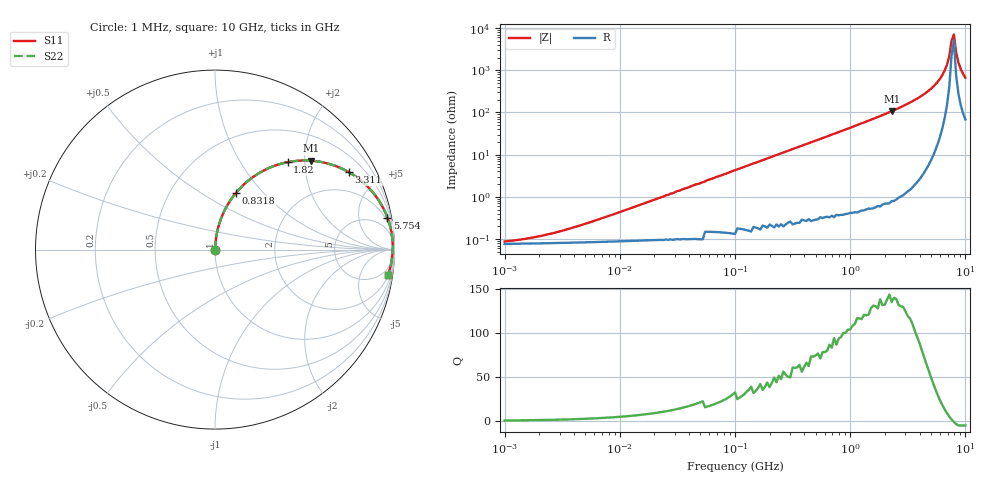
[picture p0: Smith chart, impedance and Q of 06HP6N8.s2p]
# MHz S MA R 50
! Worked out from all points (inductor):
!   201 points, 1 MHz to 10 GHz, reference 50 ohm
!   read as one part in series: L = 6.8 nH near 6.026 MHz
!   highest Q = 139 at 2.291 GHz (marker M1), where L = 7.44 nH
!   self-resonance near 7.586 GHz
!   S11 on the Smith chart (normalised r, x): 1 MHz: 1.00, +0.00; 831.8 MHz: 1.01, +0.72; 1.82 GHz: 1.01, +1.64; 3.311 GHz: 1.03, +3.45; 5.754 GHz: 1, +11; 10 GHz: 2, -13
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1  0.0006827 38.7  0.999 -0.0  0.999 -0.0  0.0006827 38.7
1.995  0.00103 55.7  0.999 -0.0  0.999 -0.0  0.00103 55.7
4.786  0.00215 71.8  0.999 -0.1  0.999 -0.1  0.00215 71.8
21.878  0.009386 83.7  0.999 -0.5  0.999 -0.5  0.009386 83.7
104.713  0.045 85.4  0.997 -2.6  0.997 -2.6  0.045 85.4
478.63  0.201 77.6  0.977 -11.6  0.977 -11.6  0.201 77.6
831.764  0.337 69.7  0.938 -19.7  0.938 -19.7  0.337 69.7
1819.701  0.633 50.3  0.77 -39.2  0.77 -39.2  0.633 50.3
2187.762  0.71 44.4  0.7 -45.2  0.7 -45.2  0.71 44.4
2290.868  0.728 42.8  0.68 -46.7  0.68 -46.7  0.728 42.8
3311.311  0.862 30.0  0.5 -59.5  0.5 -59.5  0.862 30.0
4570.882  0.943 18.5  0.318 -70.6  0.318 -70.6  0.943 18.5
5754.399  0.977 10.5  0.182 -77.6  0.182 -77.6  0.977 10.5
6309.573  0.985 7.3  0.127 -79.5  0.127 -79.5  0.985 7.3
6918.31  0.989 4.2  0.073 -79.5  0.073 -79.5  0.989 4.2
7244.36  0.99 2.6  0.046 -76.6  0.046 -76.6  0.99 2.6
7585.776  0.991 1.0  0.02 -61.5  0.02 -61.5  0.991 1.0
7943.282  0.99 -0.5  0.014 42.6  0.014 42.6  0.99 -0.5
8317.638  0.988 -2.1  0.038 71.4  0.038 71.4  0.988 -2.1
8709.636  0.986 -3.7  0.065 75.9  0.065 75.9  0.986 -3.7
9120.108  0.983 -5.2  0.092 76.8  0.092 76.8  0.983 -5.2
10000  0.975 -8.3  0.146 75.8  0.146 75.8  0.975 -8.3
